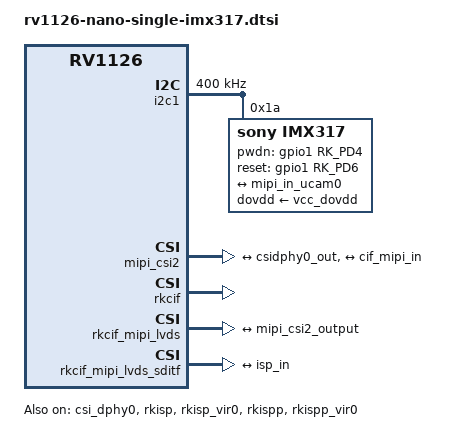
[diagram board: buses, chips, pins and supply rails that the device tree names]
// SPDX-License-Identifier: (GPL-2.0+ OR MIT)
/*
 * Guangzhou Easy EAI Technology Co., Ltd.
 *
 */

&csi_dphy0 {
	status = "okay";

	ports {
		#address-cells = <1>;
		#size-cells = <0>;
		port@0 {
			reg = <0>;
			#address-cells = <1>;
			#size-cells = <0>;

			mipi_in_ucam0: endpoint@1 {
				reg = <1>;
				remote-endpoint = <&ucam_out0>;
				data-lanes = <1 2 3 4>;
			};
		};
		port@1 {
			reg = <1>;
			#address-cells = <1>;
			#size-cells = <0>;

			csidphy0_out: endpoint@0 {
				reg = <0>;
				remote-endpoint = <&mipi_csi2_input>;
				data-lanes = <1 2 3 4>;
			};
		};
	};
};

&i2c1 {
	status = "okay";
	clock-frequency = <400000>;

	imx317: imx317@1a {
		compatible = "sony,imx317";
		reg = <0x1a>;

		clocks = <&cru CLK_MIPICSI_OUT>;
		clock-names = "xvclk";

		power-domains = <&power RV1126_PD_VI>;
		pinctrl-names = "rockchip,camera_default";
		pinctrl-0 = <&mipicsi_clk0 &csi1_pwdn &csi0_pwdn>;

		pwdn-gpios = <&gpio1 RK_PD4 GPIO_ACTIVE_HIGH>;
		reset-gpios = <&gpio1 RK_PD6 GPIO_ACTIVE_HIGH>;

		dovdd-supply = <&vcc_dovdd>;

		rockchip,camera-module-index = <0>;
		rockchip,camera-module-facing = "front";
		rockchip,camera-module-name = "default";
		rockchip,camera-module-lens-name = "default";
		port {
			ucam_out0: endpoint {
				remote-endpoint = <&mipi_in_ucam0>;
				data-lanes = <1 2 3 4>;
			};
		};
	};
};

&mipi_csi2 {
	status = "okay";
	ports {
		#address-cells = <1>;
		#size-cells = <0>;

		port@0 {
			reg = <0>;
			#address-cells = <1>;
			#size-cells = <0>;

			mipi_csi2_input: endpoint@1 {
				reg = <1>;
				remote-endpoint = <&csidphy0_out>;
				data-lanes = <1 2 3 4>;
			};
		};

		port@1 {
			reg = <1>;
			#address-cells = <1>;
			#size-cells = <0>;

			mipi_csi2_output: endpoint@0 {
				reg = <0>;
				remote-endpoint = <&cif_mipi_in>;
				data-lanes = <1 2 3 4>;
			};
		};
	};
};

&pinctrl {
	mipi-csi {
		/omit-if-no-ref/
		csi0_rst: csi0_rst {
			rockchip,pins =
				<1 RK_PD5 RK_FUNC_GPIO &pcfg_pull_up>;
		};

		/omit-if-no-ref/
		csi0_pwdn: csi0_pwdn {
			rockchip,pins =
				<1 RK_PD4 RK_FUNC_GPIO &pcfg_pull_up>;
		};

		/omit-if-no-ref/
		csi0_pwr: csi0_pwr {
			rockchip,pins =
				<2 RK_PA0 RK_FUNC_GPIO &pcfg_pull_up>;
		};

		/omit-if-no-ref/
		ir_led_io: ir-led-io {
			rockchip,pins =
				<2 RK_PA4 RK_FUNC_GPIO &pcfg_pull_up>;
		};

		/omit-if-no-ref/
		csi1_rst: csi1_rst {
			rockchip,pins =
				<1 RK_PD7 RK_FUNC_GPIO &pcfg_pull_up>;
		};

		/omit-if-no-ref/
		csi1_pwdn: csi1_pwdn {
			rockchip,pins =
				<1 RK_PD6 RK_FUNC_GPIO &pcfg_pull_up>;
		};
	};
};

&rkisp {
	status = "okay";
};

&rkisp_vir0 {
	status = "okay";

	ports {
		port@0 {
			reg = <0>;
			#address-cells = <1>;
			#size-cells = <0>;

			isp_in: endpoint@0 {
				reg = <0>;
				remote-endpoint = <&cif_sditf>;
			};
		};
	};
};

&rkisp_mmu {
	status = "disabled";
};

&rkcif {
	status = "okay";
};

&rkcif_mmu {
	status = "disabled";
};

&rkcif_mipi_lvds {
	status = "okay";
	port {
		cif_mipi_in: endpoint {
			remote-endpoint = <&mipi_csi2_output>;
			data-lanes = <1 2 3 4>;
		};
	};
};

&rkcif_mipi_lvds_sditf {
	status = "okay";

	port {
		cif_sditf: endpoint {
			remote-endpoint = <&isp_in>;
			data-lanes = <1 2 3 4>;
		};
	};
};

&rkispp {
	status = "okay";
};

&rkispp_vir0 {
	status = "okay";
};

&rkispp_mmu {
	status = "okay";
};
